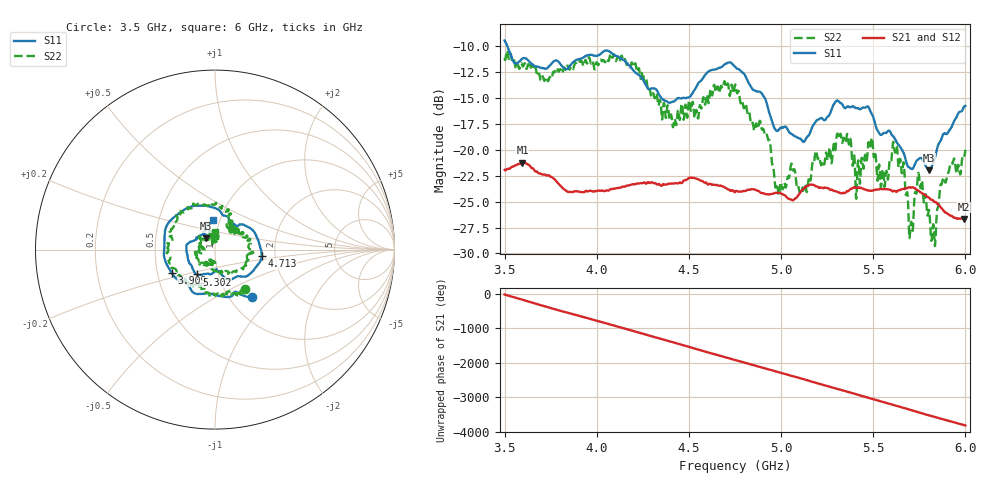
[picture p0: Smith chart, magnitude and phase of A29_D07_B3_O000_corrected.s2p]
! Created with skrf 1.9.0 (http://scikit-rf.org).
# Hz S RI R 50.0
!freq ReS11 ImS11 ReS21 ImS21 ReS12 ImS12 ReS22 ImS22
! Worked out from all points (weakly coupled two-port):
!   1601 points, 3.5 GHz to 6 GHz, reference 50 ohm
!   highest |S21| = -21.25 dB at 3.597 GHz (marker M1); lowest = -26.7 dB at 5.994 GHz (marker M2)
!   lowest |S11| = -22.0 dB at 5.803 GHz (marker M3), VSWR 1.17, Z = 45 + j5.67 ohm
!   |S11| at or under -10 dB: 3.514 GHz to end of sweep
!   |S22| runs from -29.3 to -10.5 dB; largest |S21 - S12| = 0.00094
!   S11 on the Smith chart (normalised r, x): 3.5 GHz: 1.26, -0.76; 3.909 GHz: 0.60, -0.17; 4.713 GHz: 1.70, -0.12; 5.302 GHz: 0.79, -0.22; 6 GHz: 0.93, +0.31
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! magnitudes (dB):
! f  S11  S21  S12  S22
! 3.5 GHz  -9.5  -22.0  -21.9  -11.2
! 3.597 GHz  -11.2  -21.3  -21.2  -11.9
! 3.909 GHz  -11.3  -24.1  -24.0  -11.5
! 3.917 GHz  -11.2  -24.1  -24.1  -11.5
! 4.142 GHz  -11.3  -23.6  -23.6  -11.3
! 4.334 GHz  -14.6  -23.3  -23.3  -15.8
! 4.422 GHz  -15.3  -23.3  -23.2  -17.1
! 4.713 GHz  -11.6  -23.8  -23.8  -13.7
! 4.75 GHz  -12.0  -24.1  -24.0  -13.8
! 4.928 GHz  -15.9  -24.3  -24.3  -19.0
! 4.98 GHz  -18.2  -24.2  -24.1  -23.5
! 5.167 GHz  -17.9  -23.4  -23.3  -21.7
! 5.302 GHz  -15.3  -24.0  -24.0  -18.7
! 5.416 GHz  -16.0  -23.7  -23.7  -21.4
! 5.484 GHz  -16.3  -24.0  -23.9  -19.7
! 5.584 GHz  -18.2  -23.8  -23.8  -22.0
! 5.656 GHz  -20.0  -23.8  -23.7  -22.3
! 5.705 GHz  -21.8  -23.7  -23.6  -27.0
! 5.752 GHz  -20.8  -24.0  -24.0  -23.1
! 5.803 GHz  -22.0  -24.6  -24.6  -25.8
! 5.994 GHz  -15.9  -26.7  -26.6  -20.7
! 6 GHz  -15.8  -26.7  -26.6  -20.0
